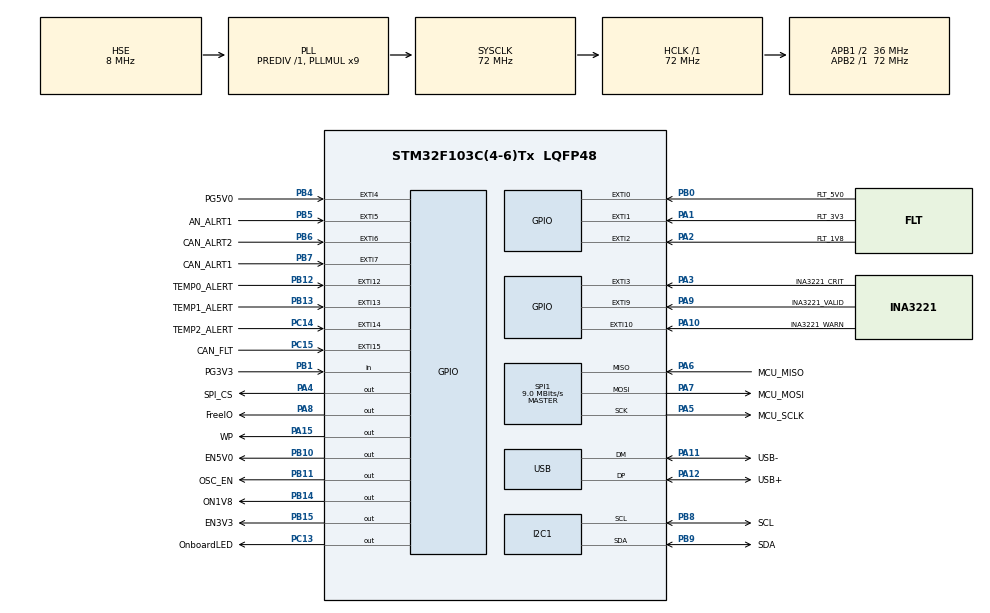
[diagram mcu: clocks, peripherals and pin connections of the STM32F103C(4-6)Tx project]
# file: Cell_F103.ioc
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Mcu.Family=STM32F1
Mcu.Name=STM32F103C(4-6)Tx
Mcu.Package=LQFP48
NVIC.EXTI0_IRQn=true\:0\:0\:false\:false\:true\:true\:true\:true
NVIC.EXTI15_10_IRQn=true\:0\:0\:false\:false\:true\:true\:true\:true
NVIC.EXTI1_IRQn=true\:0\:0\:false\:false\:true\:true\:true\:true
NVIC.EXTI2_IRQn=true\:0\:0\:false\:false\:true\:true\:true\:true
NVIC.EXTI3_IRQn=true\:0\:0\:false\:false\:true\:true\:true\:true
NVIC.EXTI4_IRQn=true\:0\:0\:false\:false\:true\:true\:true\:true
NVIC.EXTI9_5_IRQn=true\:0\:0\:false\:false\:true\:true\:true\:true
NVIC.PriorityGroup=NVIC_PRIORITYGROUP_4
PA0-WKUP.GPIO_Label=WAKE
PA0-WKUP.Mode=SYS_WakeUp0
PA0-WKUP.Signal=SYS_WKUP
PA1.GPIO_Label=FLT_3V3
PA1.GPIO_ModeDefaultEXTI=GPIO_MODE_IT_FALLING
PA1.Signal=GPXTI1
PA10.GPIO_Label=INA3221_WARN
PA10.GPIO_ModeDefaultEXTI=GPIO_MODE_IT_FALLING
PA10.Signal=GPXTI10
PA11.GPIO_Label=USB-
PA11.Mode=Device
PA11.Signal=USB_DM
PA12.GPIO_Label=USB+
PA12.Mode=Device
PA12.Signal=USB_DP
PA13.Mode=Serial_Wire
PA13.Signal=SYS_JTMS-SWDIO
PA14.Mode=Serial_Wire
PA14.Signal=SYS_JTCK-SWCLK
PA15.GPIO_Label=WP
PA15.PinState=GPIO_PIN_SET
PA15.Signal=GPIO_Output
PA2.GPIO_Label=FLT_1V8
PA2.GPIO_ModeDefaultEXTI=GPIO_MODE_IT_FALLING
PA2.Signal=GPXTI2
PA3.GPIO_Label=INA3221_CRIT
PA3.GPIO_ModeDefaultEXTI=GPIO_MODE_IT_FALLING
PA3.Signal=GPXTI3
PA4.GPIO_Label=SPI_CS
PA4.PinState=GPIO_PIN_SET
PA4.Signal=GPIO_Output
PA5.GPIO_Label=MCU_SCLK
PA5.Mode=Full_Duplex_Master
PA5.Signal=SPI1_SCK
PA6.GPIO_Label=MCU_MISO
PA6.Mode=Full_Duplex_Master
PA6.Signal=SPI1_MISO
PA7.GPIO_Label=MCU_MOSI
PA7.Mode=Full_Duplex_Master
PA7.Signal=SPI1_MOSI
PA8.GPIO_Label=FreeIO
PA8.Signal=GPIO_Output
PA9.GPIO_Label=INA3221_VALID
PA9.GPIO_ModeDefaultEXTI=GPIO_MODE_IT_FALLING
PA9.Signal=GPXTI9
PB0.GPIO_Label=FLT_5V0
PB0.GPIO_ModeDefaultEXTI=GPIO_MODE_IT_FALLING
PB0.Signal=GPXTI0
PB1.GPIO_Label=PG3V3
PB1.Signal=GPIO_Input
PB10.GPIO_Label=EN5V0
PB10.PinState=GPIO_PIN_SET
PB10.Signal=GPIO_Output
PB11.GPIO_Label=OSC_EN
PB11.Signal=GPIO_Output
PB12.GPIO_Label=TEMP0_ALERT
PB12.GPIO_ModeDefaultEXTI=GPIO_MODE_IT_FALLING
PB12.Signal=GPXTI12
PB13.GPIO_Label=TEMP1_ALERT
PB13.GPIO_ModeDefaultEXTI=GPIO_MODE_IT_FALLING
PB13.Signal=GPXTI13
PB14.GPIO_Label=ON1V8
PB14.Signal=GPIO_Output
PB15.GPIO_Label=EN3V3
PB15.PinState=GPIO_PIN_SET
PB15.Signal=GPIO_Output
PB3.GPIO_Label=SingleWireOutput
PB3.Signal=SYS_JTDO-TRACESWO
PB4.GPIO_Label=PG5V0
PB4.GPIO_ModeDefaultEXTI=GPIO_MODE_IT_FALLING
PB4.Signal=GPXTI4
PB5.GPIO_Label=AN_ALRT1
PB5.GPIO_ModeDefaultEXTI=GPIO_MODE_IT_FALLING
PB5.Signal=GPXTI5
PB6.GPIO_Label=CAN_ALRT2
PB6.GPIO_ModeDefaultEXTI=GPIO_MODE_IT_FALLING
PB6.Signal=GPXTI6
PB7.GPIO_Label=CAN_ALRT1
PB7.GPIO_ModeDefaultEXTI=GPIO_MODE_IT_FALLING
PB7.Signal=GPXTI7
PB8.GPIO_Label=SCL
PB8.Mode=I2C
PB8.Signal=I2C1_SCL
PB9.GPIO_Label=SDA
PB9.Mode=I2C
PB9.Signal=I2C1_SDA
PC13-TAMPER-RTC.GPIO_Label=OnboardLED
PC13-TAMPER-RTC.Signal=GPIO_Output
PC14-OSC32_IN.GPIO_Label=TEMP2_ALERT
PC14-OSC32_IN.GPIO_ModeDefaultEXTI=GPIO_MODE_IT_FALLING
PC14-OSC32_IN.Signal=GPXTI14
PC15-OSC32_OUT.GPIO_Label=CAN_FLT
PC15-OSC32_OUT.GPIO_ModeDefaultEXTI=GPIO_MODE_IT_FALLING
PC15-OSC32_OUT.Signal=GPXTI15
PD0-OSC_IN.Mode=HSE-External-Oscillator
PD0-OSC_IN.Signal=RCC_OSC_IN
PD1-OSC_OUT.Mode=HSE-External-Oscillator
PD1-OSC_OUT.Signal=RCC_OSC_OUT
ProjectManager.HeapSize=0x200
ProjectManager.StackSize=0x400
ProjectManager.TargetToolchain=STM32CubeIDE
RCC.AHBFreq_Value=72000000
RCC.APB1CLKDivider=RCC_HCLK_DIV2
RCC.APB1Freq_Value=36000000
RCC.APB1TimFreq_Value=72000000
RCC.APB2Freq_Value=72000000
RCC.APB2TimFreq_Value=72000000
RCC.HCLKFreq_Value=72000000
RCC.PLLMUL=RCC_PLL_MUL9
RCC.PLLSourceVirtual=RCC_PLLSOURCE_HSE
RCC.SYSCLKFreq_VALUE=72000000
RCC.SYSCLKSource=RCC_SYSCLKSOURCE_PLLCLK
RCC.USBFreq_Value=48000000
RCC.USBPrescaler=RCC_USBCLKSOURCE_PLL_DIV1_5
SPI1.BaudRatePrescaler=SPI_BAUDRATEPRESCALER_8
SPI1.CalculateBaudRate=9.0 MBits/s
SPI1.Direction=SPI_DIRECTION_2LINES
SPI1.Mode=SPI_MODE_MASTER
SPI1.VirtualType=VM_MASTER
VP_IWDG_VS_IWDG.Mode=IWDG_Activate
board=custom

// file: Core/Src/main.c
/* USER CODE BEGIN Header */

/**
  ******************************************************************************
  * @file           : main.c
  * @brief          : Main program body
  ******************************************************************************
  * @attention
  *
  * Copyright (c) 2026 STMicroelectronics.
  * All rights reserved.
  *
  * This software is licensed under terms that can be found in the LICENSE file
  * in the root directory of this software component.
  * If no LICENSE file comes with this software, it is provided AS-IS.
  *
  ******************************************************************************
  */
/* USER CODE END Header */
/* USER CODE BEGIN Includes */
#include "power_ctrl.h"
#include "ina3221_port.h"
#include "tmp75b_port.h"
#include "fram_port.h"
#include "mcp_port.h"
#include "can_ctrl.h"
#include "fault_ctrl.h"
#include "telemetry.h"
#include "self_test.h"
#include "iwdg.h"
#include "main.h"
#include "i2c.h"
#include "spi.h"
#include "usb.h"
#include "gpio.h"
/*
 *
 Hardware interrupts
       |
       v
app_callbacks.c  (HAL_GPIO_EXTI_Callback)
       |
       +---> power_fault_irq_handler()   -- sets power fault flags
       +---> tmp75b_alert_irq_handler()  -- sets temp alert flags
       +---> can_ctrl_fault_irq_handler() -- sets CAN fault flags
       |
       v
fault_ctrl_process()  <-- called every main loop iteration
       |
       +-- collects flags from all modules
       +-- polls INA3221 mask register
       +-- polls PG5V0 pin
       +-- classifies severity tier
       |
       +-- TIER 1 WARNING   --> log to FRAM + CAN status frame
       +-- TIER 2 CRITICAL  --> disable rail + ESP32 alert + log + CAN
       +-- TIER 3 EMERGENCY --> full power down + ESP32 alert + log + CAN
 */
/* USER CODE END Includes */

/* USER CODE BEGIN PD */
#define IWDG_TIMEOUT_MS     500u    /* Watchdog window — kick before this */
/* USER CODE END PD */

void SystemClock_Config(void);

/* USER CODE BEGIN 0 */
#include "i2c.h"

/* Scans all 128 I2C addresses and records which ones ACK.
   found[] will contain the addresses, count returns how many. */
static uint8_t i2c_scan(uint8_t *found, uint8_t max_found)
{
    uint8_t count = 0;
    for (uint8_t addr = 1; addr < 128 && count < max_found; addr++)
    {
        if (HAL_I2C_IsDeviceReady(&hi2c1, addr << 1, 1, 10) == HAL_OK)
        {
            found[count++] = addr;
        }
    }
    return count;
}
/* USER CODE END 0 */

int main(void)
{

  /* MCU Configuration--------------------------------------------------------*/

  /* Reset of all peripherals, Initializes the Flash interface and the Systick. */
  HAL_Init();

  /* Configure the system clock */
  SystemClock_Config();

  /* Initialize all configured peripherals */
  MX_GPIO_Init();
  MX_I2C1_Init();
  MX_SPI1_Init();
  MX_USB_PCD_Init();
  MX_IWDG_Init();
  /* USER CODE BEGIN 2 */

  power_result_t pwr_result = power_sequence_up();
  if (pwr_result != POWER_OK)
  {
      /* Rails failed to come up, handle as needed */
  }

  self_test_result_t st_result = self_test_run();
  if (!self_test_passed(st_result)) { /* handle */ }
  ina3221_status_t ina_st = ina3221_init();
  if (ina_st != INA3221_OK) { /* handle */ }
  //
  tmp75b_status_t tmp_st = tmp75b_init_all();
  if (tmp_st != TMP75B_OK) { /* handle */ }

  /* Set alert limits — 85C high, 75C low (hysteresis), all sensors */
  for (int s = TMP75B_SENSOR_0; s < TMP75B_SENSOR_COUNT; s++)
  {
      tmp75b_set_limits((tmp75b_sensor_t)s, 75000, 85000);
  }
  /* Assert FRAM write protect (safe default) */
  fram_init();

  /* Populate MCP2518FD device struct with port functions */
  mcp_port_init_device_struct();
  /* MCP251XFD_Init() called from can_ctrl once bitrate config is defined */

  can_ctrl_status_t can_st = can_ctrl_init();
  if (can_st != CAN_CTRL_OK) { /* handle */ }

  fault_ctrl_init();
  telemetry_init();

  /* --- Temporary I2C scan --- */
  uint8_t found_addrs[16];
  uint8_t found_count = i2c_scan(found_addrs, 16);
  /* Set a breakpoint on the line below and inspect found_addrs[] and found_count */
  (void)found_count;
  /* --- End scan --- */
  /* USER CODE END 2 */

  /* Infinite loop */
  while (1)
    {

      /* USER CODE BEGIN 3 */
        HAL_IWDG_Refresh(&hiwdg);
        fault_ctrl_process();
        telemetry_process();
      /* USER CODE END 3 */
    }       /* closes while(1) */
  }         /* closes main()   */

void SystemClock_Config(void)
{
  RCC_OscInitTypeDef RCC_OscInitStruct = {0};
  RCC_ClkInitTypeDef RCC_ClkInitStruct = {0};
  RCC_PeriphCLKInitTypeDef PeriphClkInit = {0};

  /** Initializes the RCC Oscillators according to the specified parameters
  * in the RCC_OscInitTypeDef structure.
  */
  RCC_OscInitStruct.OscillatorType = RCC_OSCILLATORTYPE_LSI|RCC_OSCILLATORTYPE_HSE;
  RCC_OscInitStruct.HSEState = RCC_HSE_ON;
  RCC_OscInitStruct.HSEPredivValue = RCC_HSE_PREDIV_DIV1;
  RCC_OscInitStruct.HSIState = RCC_HSI_ON;
  RCC_OscInitStruct.LSIState = RCC_LSI_ON;
  RCC_OscInitStruct.PLL.PLLState = RCC_PLL_ON;
  RCC_OscInitStruct.PLL.PLLSource = RCC_PLLSOURCE_HSE;
  RCC_OscInitStruct.PLL.PLLMUL = RCC_PLL_MUL9;
  if (HAL_RCC_OscConfig(&RCC_OscInitStruct) != HAL_OK)
  {
    Error_Handler();
  }

  /** Initializes the CPU, AHB and APB buses clocks
  */
  RCC_ClkInitStruct.ClockType = RCC_CLOCKTYPE_HCLK|RCC_CLOCKTYPE_SYSCLK
                              |RCC_CLOCKTYPE_PCLK1|RCC_CLOCKTYPE_PCLK2;
  RCC_ClkInitStruct.SYSCLKSource = RCC_SYSCLKSOURCE_PLLCLK;
  RCC_ClkInitStruct.AHBCLKDivider = RCC_SYSCLK_DIV1;
  RCC_ClkInitStruct.APB1CLKDivider = RCC_HCLK_DIV2;
  RCC_ClkInitStruct.APB2CLKDivider = RCC_HCLK_DIV1;

  if (HAL_RCC_ClockConfig(&RCC_ClkInitStruct, FLASH_LATENCY_2) != HAL_OK)
  {
    Error_Handler();
  }
  PeriphClkInit.PeriphClockSelection = RCC_PERIPHCLK_USB;
  PeriphClkInit.UsbClockSelection = RCC_USBCLKSOURCE_PLL_DIV1_5;
  if (HAL_RCCEx_PeriphCLKConfig(&PeriphClkInit) != HAL_OK)
  {
    Error_Handler();
  }
}

void Error_Handler(void)
{
  __disable_irq();
  while (1)
  {
  }
}
